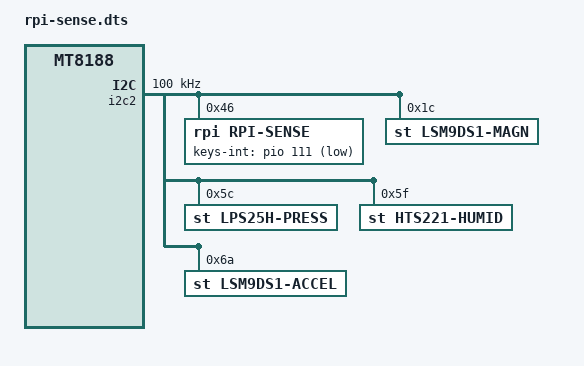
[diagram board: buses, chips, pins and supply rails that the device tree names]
// SPDX-License-Identifier: GPL-2.0
/*
 * Copyright (c) 2024 VIA Technologies, Inc.
 *
 */

// rpi-sense HAT

#include <dt-bindings/clock/mediatek,mt8188-clk.h>
#include <dt-bindings/gpio/gpio.h>
#include <dt-bindings/pinctrl/mediatek,mt8188-pinfunc.h>

/dts-v1/;
/plugin/;

/ {
	compatible = "mediatek,mt8188";

	fragment@0 {
		target = <&i2c2>;
		__overlay__ {
			#address-cells = <1>;
			#size-cells = <0>;
			clock-frequency = <100000>; /* 100kHz */
			status = "okay";

			rpi-sense@46 {
				compatible = "rpi,rpi-sense";
				reg = <0x46>;
				keys-int-gpios = <&pio 111 GPIO_ACTIVE_LOW>;
				status = "okay";
			};

			lsm9ds1-magn@1c {
				compatible = "st,lsm9ds1-magn";
				reg = <0x1c>;
				status = "okay";
			};

			lps25h-press@5c {
				compatible = "st,lps25h-press";
				reg = <0x5c>;
				status = "okay";
			};

			hts221-humid@5f {
				compatible = "st,hts221-humid", "st,hts221";
				reg = <0x5f>;
				status = "okay";
			};

			lsm9ds1-accel@6a {
				compatible = "st,lsm9ds1-accel";
				reg = <0x6a>;
				status = "okay";
			};
		};
	};
};
